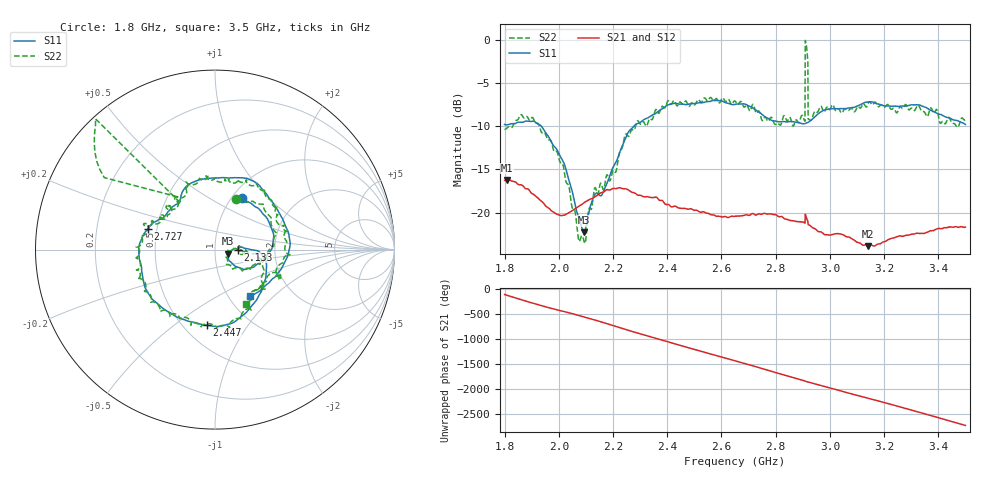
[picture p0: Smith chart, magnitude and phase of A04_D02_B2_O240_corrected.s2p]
! Created with skrf 1.9.0 (http://scikit-rf.org).
# Hz S RI R 50.0
!freq ReS11 ImS11 ReS21 ImS21 ReS12 ImS12 ReS22 ImS22
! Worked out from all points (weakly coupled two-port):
!   1601 points, 1.8 GHz to 3.5 GHz, reference 50 ohm
!   highest |S21| = -16.22 dB at 1.81 GHz (marker M1); lowest = -23.9 dB at 3.142 GHz (marker M2)
!   lowest |S11| = -22.2 dB at 2.093 GHz (marker M3), VSWR 1.17, Z = 57.9 - j2.68 ohm
!   |S11| at or under -10 dB: 1.935 GHz to 2.277 GHz (341.5 MHz wide, 16.2 % of centre)
!   |S22| runs from -23.5 to -0.1 dB; largest |S21 - S12| = 0.0025
!   S11 on the Smith chart (normalised r, x): 1.8 GHz: 1.12, +0.71; 2.133 GHz: 1.29, +0.00; 2.447 GHz: 0.64, -0.66; 2.727 GHz: 0.45, +0.12; 3.5 GHz: 1.26, -0.72
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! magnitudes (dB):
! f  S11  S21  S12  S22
! 1.8 GHz  -9.8  -16.3  -16.3  -10.3
! 1.81 GHz  -9.9  -16.2  -16.2  -10.2
! 1.902 GHz  -9.4  -17.8  -17.8  -9.0
! 1.968 GHz  -11.5  -19.6  -19.6  -11.6
! 2.021 GHz  -14.4  -20.3  -20.3  -15.5
! 2.084 GHz  -21.6  -19.1  -19.0  -22.7
! 2.093 GHz  -22.2  -18.8  -18.9  -23.3
! 2.133 GHz  -17.9  -18.2  -18.2  -17.1
! 2.26 GHz  -10.5  -17.4  -17.4  -11.1
! 2.367 GHz  -8.3  -18.4  -18.4  -8.5
! 2.447 GHz  -7.5  -19.5  -19.5  -7.2
! 2.65 GHz  -7.5  -20.4  -20.4  -7.1
! 2.727 GHz  -8.1  -20.3  -20.3  -8.4
! 2.884 GHz  -9.6  -21.0  -21.0  -9.6
! 2.9 GHz  -9.7  -21.1  -21.1  -8.8
! 2.91 GHz  -9.7  -20.2  -20.2  -0.2
! 2.918 GHz  -9.6  -20.9  -20.9  -2.1
! 2.928 GHz  -9.4  -21.5  -21.5  -9.4
! 2.934 GHz  -9.2  -21.7  -21.6  -9.2
! 3.142 GHz  -7.2  -23.9  -23.7  -7.3
! 3.217 GHz  -7.7  -23.1  -23.0  -7.6
! 3.5 GHz  -9.8  -21.7  -21.6  -9.2
